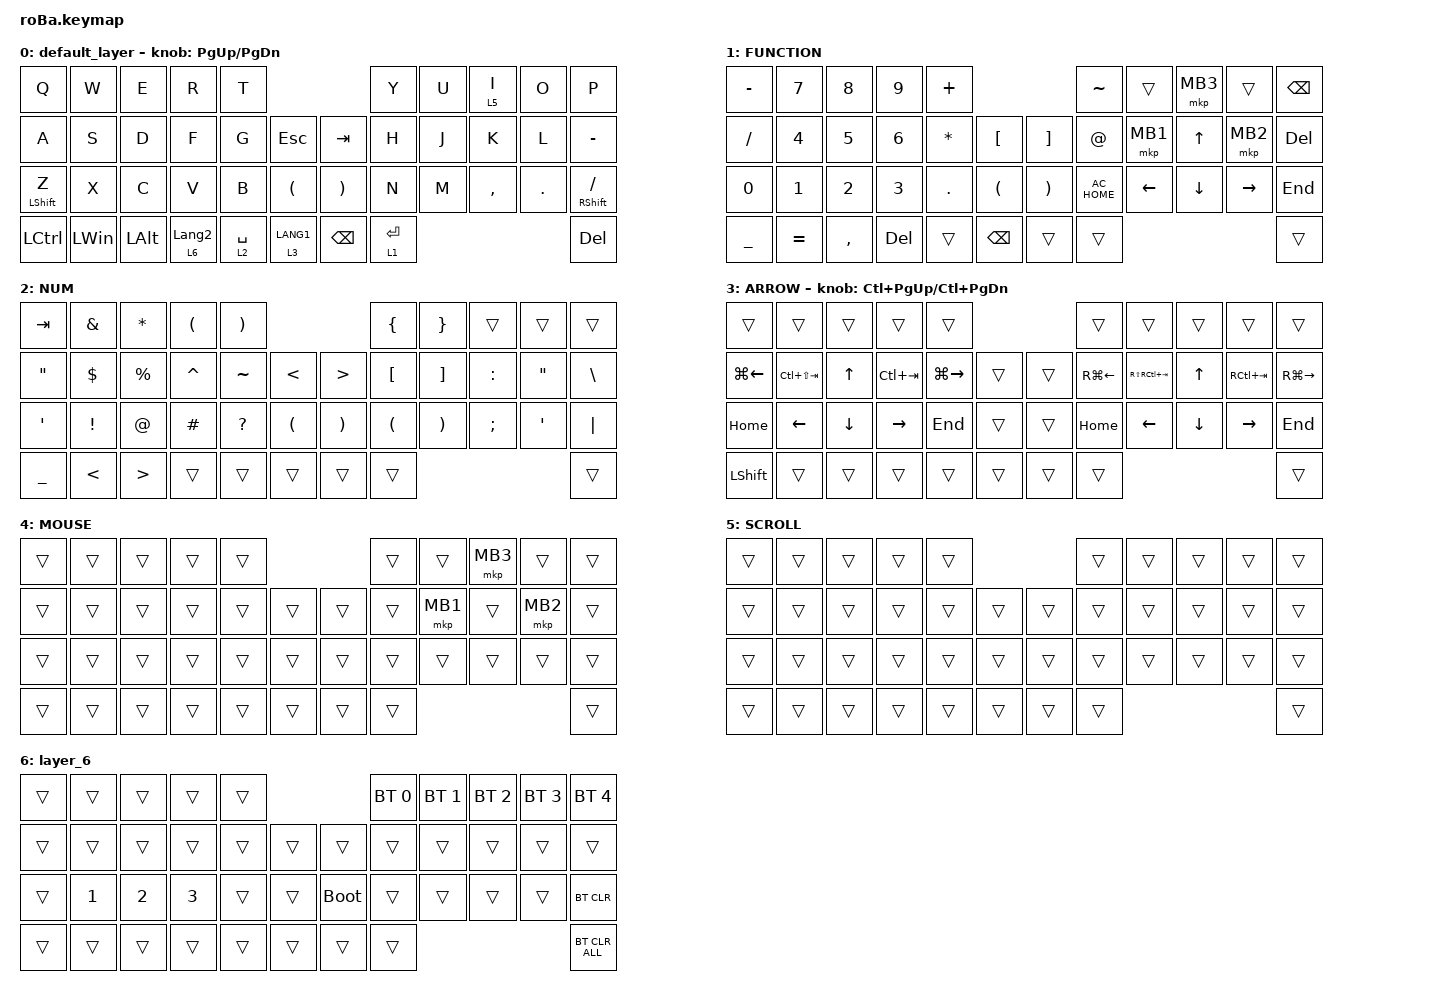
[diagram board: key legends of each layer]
#include <behaviors.dtsi>
#include <dt-bindings/zmk/bt.h>
#include <dt-bindings/zmk/keys.h>
#include <dt-bindings/zmk/pointing.h>

&mt {
    flavor = "balanced";
    quick-tap-ms = <0>;
};

&trackball {
    automouse-layer = <4>;
    scroll-layers = <5>;

    // arrows {
    //     layers = <3>;
    //     bindings =
    //         <&kp RIGHT_ARROW>,
    //         <&kp LEFT_ARROW>,
    //         <&kp UP_ARROW>,
    //         <&kp DOWN_ARROW>;
    //     tick = <10>;
    //     wait-ms = <5>;
    //     tap-ms = <5>;
    // };
};

/ {
    combos {
        compatible = "zmk,combos";

        tab {
            bindings = <&kp TAB>;
            key-positions = <11 12>;
        };

        shift_tab {
            bindings = <&kp LS(TAB)>;
            key-positions = <12 13>;
        };

        muhennkann {
            bindings = <&to_layer_0 INT_MUHENKAN>;
            key-positions = <11 10>;
        };

        double_quotation {
            bindings = <&kp DOUBLE_QUOTES>;
            key-positions = <20 21>;
        };

        eq {
            bindings = <&kp EQUAL>;
            key-positions = <24 25>;
        };
    };

    macros {
        to_layer_0: to_layer_0 {
            compatible = "zmk,behavior-macro-one-param";
            #binding-cells = <1>;
            bindings = <&to 0 &macro_param_1to1 &kp MACRO_PLACEHOLDER>;
            label = "TO_LAYER_0";
        };
    };

    behaviors {
        lt_to_layer_0: lt_to_layer_0 {
            compatible = "zmk,behavior-hold-tap";
            label = "LAYER_TAP_TO_0";
            bindings = <&mo>, <&to_layer_0>;

            #binding-cells = <2>;
            tapping-term-ms = <200>;
        };
    };

    keymap {
        compatible = "zmk,keymap";

        default_layer {
            bindings = <
&kp Q             &kp W         &kp E         &kp R             &kp T                                                         &kp Y        &kp U  &lt 5 I    &kp O    &kp P
&kp A             &kp S         &kp D         &kp F             &kp G        &kp ESCAPE                &kp TAB                &kp H        &kp J  &kp K      &kp L    &kp MINUS
&mt LEFT_SHIFT Z  &kp X         &kp C         &kp V             &kp B        &kp LEFT_PARENTHESIS      &kp RIGHT_PARENTHESIS  &kp N        &kp M  &kp COMMA  &kp DOT  &mt RIGHT_SHIFT SLASH
&kp LEFT_CONTROL  &kp LEFT_WIN  &kp LEFT_ALT  &lt 6 LANGUAGE_2  &lt 2 SPACE  &lt 3 LANG1               &kp BACKSPACE          &lt 1 ENTER                             &kp DEL
            >;

            sensor-bindings = <&inc_dec_kp PG_UP PAGE_DOWN>;
        };

        FUNCTION {
            bindings = <
&kp MINUS     &kp N7     &kp N8     &kp NUMBER_9  &kp PLUS                                                    &kp TILDE      &trans          &mkp MB3        &trans           &kp BACKSPACE
&kp SLASH     &kp N4     &kp N5     &kp N6        &kp ASTRK  &kp LEFT_BRACKET          &kp RIGHT_BRACKET      &kp AT         &mkp MB1        &kp UP_ARROW    &mkp MB2         &kp DEL
&kp NUMBER_0  &kp N1     &kp N2     &kp NUMBER_3  &kp DOT    &kp LEFT_PARENTHESIS      &kp RIGHT_PARENTHESIS  &kp C_AC_HOME  &kp LEFT_ARROW  &kp DOWN_ARROW  &kp RIGHT_ARROW  &kp END
&kp UNDER     &kp EQUAL  &kp COMMA  &kp DELETE    &trans     &kp BACKSPACE             &trans                 &trans                                                          &trans
            >;
        };

        NUM {
            bindings = <
&kp TAB            &kp AMPERSAND    &kp ASTERISK  &kp LEFT_PARENTHESIS  &kp RIGHT_PARENTHESIS                                                   &kp LEFT_BRACE        &kp RIGHT_BRACE        &trans     &trans             &trans
&kp DOUBLE_QUOTES  &kp DOLLAR       &kp PERCENT   &kp CARET             &kp TILDE              &kp LESS_THAN             &kp GREATER_THAN       &kp LEFT_BRACKET      &kp RIGHT_BRACKET      &kp COLON  &kp DOUBLE_QUOTES  &kp BACKSLASH
&kp SINGLE_QUOTE   &kp EXCLAMATION  &kp AT_SIGN   &kp HASH              &kp QUESTION           &kp LEFT_PARENTHESIS      &kp RIGHT_PARENTHESIS  &kp LEFT_PARENTHESIS  &kp RIGHT_PARENTHESIS  &kp SEMI   &kp SINGLE_QUOTE   &kp PIPE
&kp UNDER          &kp LESS_THAN    &kp GT        &trans                &trans                 &trans                    &trans                 &trans                                                                     &trans
            >;
        };

        ARROW {
            bindings = <
&trans              &trans           &trans          &trans           &trans                                   &trans              &trans           &trans          &trans           &trans
&kp LG(LEFT_ARROW)  &kp LC(LS(TAB))  &kp UP          &kp LC(TAB)      &kp LG(RIGHT_ARROW)  &trans      &trans  &kp RG(LEFT_ARROW)  &kp RS(RC(TAB))  &kp UP_ARROW    &kp RC(TAB)      &kp RG(RIGHT)
&kp HOME            &kp LEFT_ARROW   &kp DOWN_ARROW  &kp RIGHT_ARROW  &kp END              &trans      &trans  &kp HOME            &kp LEFT_ARROW   &kp DOWN_ARROW  &kp RIGHT_ARROW  &kp END
&kp LSHIFT          &trans           &trans          &trans           &trans               &trans      &trans  &trans                                                                &trans
            >;

            sensor-bindings = <&inc_dec_kp LC(PAGE_UP) LC(PAGE_DOWN)>;
        };

        MOUSE {
            bindings = <
&trans  &trans  &trans  &trans  &trans                      &trans  &trans    &mkp MB3  &trans    &trans
&trans  &trans  &trans  &trans  &trans  &trans      &trans  &trans  &mkp MB1  &trans    &mkp MB2  &trans
&trans  &trans  &trans  &trans  &trans  &trans      &trans  &trans  &trans    &trans    &trans    &trans
&trans  &trans  &trans  &trans  &trans  &trans      &trans  &trans                                &trans
            >;
        };

        SCROLL {
            bindings = <
&trans  &trans  &trans  &trans  &trans                      &trans  &trans  &trans  &trans  &trans
&trans  &trans  &trans  &trans  &trans  &trans      &trans  &trans  &trans  &trans  &trans  &trans
&trans  &trans  &trans  &trans  &trans  &trans      &trans  &trans  &trans  &trans  &trans  &trans
&trans  &trans  &trans  &trans  &trans  &trans      &trans  &trans                          &trans
            >;
        };

        layer_6 {
            bindings = <
&trans  &trans        &trans        &trans        &trans                           &bt BT_SEL 0  &bt BT_SEL 1  &bt BT_SEL 2  &bt BT_SEL 3  &bt BT_SEL 4
&trans  &trans        &trans        &trans        &trans  &trans      &trans       &trans        &trans        &trans        &trans        &trans
&trans  &kp NUMBER_1  &kp NUMBER_2  &kp NUMBER_3  &trans  &trans      &bootloader  &trans        &trans        &trans        &trans        &bt BT_CLR
&trans  &trans        &trans        &trans        &trans  &trans      &trans       &trans                                                  &bt BT_CLR_ALL
            >;
        };
    };
};
